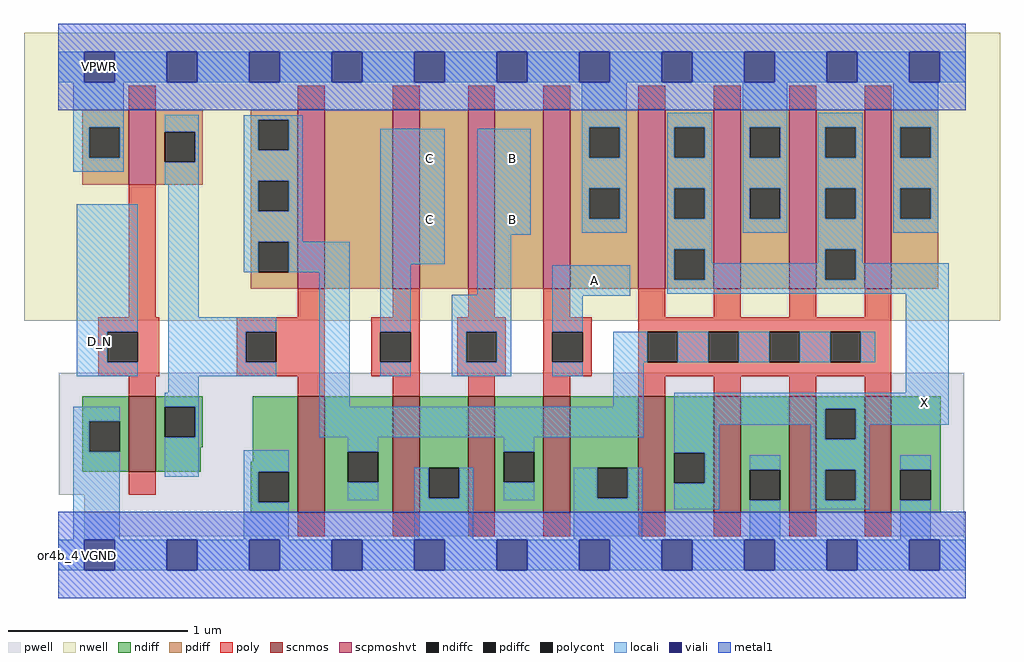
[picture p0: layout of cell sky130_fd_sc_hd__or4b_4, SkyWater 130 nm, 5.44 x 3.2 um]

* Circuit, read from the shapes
.subckt sky130_fd_sc_hd__or4b_4 VGND VPWR VPB VNB X D_N C B A
XM1 n1 D_N VGND VNB sky130_fd_pr__nfet_01v8 w=0.42 l=0.15
XM2 n2 n1 VGND VNB sky130_fd_pr__nfet_01v8 w=0.65 l=0.15
XM3 VGND C n2 VNB sky130_fd_pr__nfet_01v8 w=0.65 l=0.15
XM4 n2 B VGND VNB sky130_fd_pr__nfet_01v8 w=0.65 l=0.15
XM5 VGND A n2 VNB sky130_fd_pr__nfet_01v8 w=0.65 l=0.15
XM6 X n2 VGND VNB sky130_fd_pr__nfet_01v8 w=0.65 l=0.15 m=4
XM7 n1 D_N VPWR VPB sky130_fd_pr__pfet_01v8_hvt w=0.42 l=0.15
XM8 n3 n1 n2 VPB sky130_fd_pr__pfet_01v8_hvt w=1 l=0.15
XM9 n4 C n3 VPB sky130_fd_pr__pfet_01v8_hvt w=1 l=0.15
XM10 n5 B n4 VPB sky130_fd_pr__pfet_01v8_hvt w=1 l=0.15
XM11 VPWR A n5 VPB sky130_fd_pr__pfet_01v8_hvt w=1 l=0.15
XM12 X n2 VPWR VPB sky130_fd_pr__pfet_01v8_hvt w=1 l=0.15 m=4
.ends

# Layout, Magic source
magic
tech sky130B
magscale 1 2
<< nwell >>
rect -38 221 1050 542
<< pwell >>
rect 1 27 1010 163
rect 29 -19 1010 27
rect 29 -57 63 -19
<< scnmos >>
rect 79 53 109 137
rect 267 7 297 137
rect 373 7 403 137
rect 457 7 487 137
rect 541 7 571 137
rect 647 7 677 137
rect 731 7 761 137
rect 815 7 845 137
rect 899 7 929 137
<< scpmoshvt >>
rect 79 373 109 457
rect 267 257 297 457
rect 373 257 403 457
rect 457 257 487 457
rect 541 257 571 457
rect 647 257 677 457
rect 731 257 761 457
rect 815 257 845 457
rect 899 257 929 457
<< ndiff >>
rect 27 109 79 137
rect 27 75 35 109
rect 69 75 79 109
rect 27 53 79 75
rect 109 125 161 137
rect 109 91 119 125
rect 153 91 161 125
rect 109 80 161 91
rect 109 53 159 80
rect 217 64 267 137
rect 215 53 267 64
rect 215 19 223 53
rect 257 19 267 53
rect 215 7 267 19
rect 297 75 373 137
rect 297 41 323 75
rect 357 41 373 75
rect 297 7 373 41
rect 403 57 457 137
rect 403 23 413 57
rect 447 23 457 57
rect 403 7 457 23
rect 487 75 541 137
rect 487 41 497 75
rect 531 41 541 75
rect 487 7 541 41
rect 571 57 647 137
rect 571 23 601 57
rect 635 23 647 57
rect 571 7 647 23
rect 677 74 731 137
rect 677 40 687 74
rect 721 40 731 74
rect 677 7 731 40
rect 761 55 815 137
rect 761 21 771 55
rect 805 21 815 55
rect 761 7 815 21
rect 845 123 899 137
rect 845 89 855 123
rect 889 89 899 123
rect 845 55 899 89
rect 845 21 855 55
rect 889 21 899 55
rect 845 7 899 21
rect 929 55 984 137
rect 929 21 939 55
rect 973 21 984 55
rect 929 7 984 21
<< pdiff >>
rect 27 437 79 457
rect 27 403 35 437
rect 69 403 79 437
rect 27 373 79 403
rect 109 432 161 457
rect 109 398 119 432
rect 153 398 161 432
rect 109 373 161 398
rect 215 445 267 457
rect 215 411 223 445
rect 257 411 267 445
rect 215 377 267 411
rect 215 343 223 377
rect 257 343 267 377
rect 215 309 267 343
rect 215 275 223 309
rect 257 275 267 309
rect 215 257 267 275
rect 297 257 373 457
rect 403 257 457 457
rect 487 257 541 457
rect 571 437 647 457
rect 571 403 592 437
rect 626 403 647 437
rect 571 369 647 403
rect 571 335 592 369
rect 626 335 647 369
rect 571 257 647 335
rect 677 437 731 457
rect 677 403 687 437
rect 721 403 731 437
rect 677 369 731 403
rect 677 335 687 369
rect 721 335 731 369
rect 677 301 731 335
rect 677 267 687 301
rect 721 267 731 301
rect 677 257 731 267
rect 761 437 815 457
rect 761 403 771 437
rect 805 403 815 437
rect 761 369 815 403
rect 761 335 771 369
rect 805 335 815 369
rect 761 257 815 335
rect 845 437 899 457
rect 845 403 855 437
rect 889 403 899 437
rect 845 369 899 403
rect 845 335 855 369
rect 889 335 899 369
rect 845 301 899 335
rect 845 267 855 301
rect 889 267 899 301
rect 845 257 899 267
rect 929 437 981 457
rect 929 403 939 437
rect 973 403 981 437
rect 929 369 981 403
rect 929 335 939 369
rect 973 335 981 369
rect 929 257 981 335
<< ndiffc >>
rect 35 75 69 109
rect 119 91 153 125
rect 223 19 257 53
rect 323 41 357 75
rect 413 23 447 57
rect 497 41 531 75
rect 601 23 635 57
rect 687 40 721 74
rect 771 21 805 55
rect 855 89 889 123
rect 855 21 889 55
rect 939 21 973 55
<< pdiffc >>
rect 35 403 69 437
rect 119 398 153 432
rect 223 411 257 445
rect 223 343 257 377
rect 223 275 257 309
rect 592 403 626 437
rect 592 335 626 369
rect 687 403 721 437
rect 687 335 721 369
rect 687 267 721 301
rect 771 403 805 437
rect 771 335 805 369
rect 855 403 889 437
rect 855 335 889 369
rect 855 267 889 301
rect 939 403 973 437
rect 939 335 973 369
<< poly >>
rect 79 457 109 483
rect 267 457 297 483
rect 373 457 403 483
rect 457 457 487 483
rect 541 457 571 483
rect 647 457 677 483
rect 731 457 761 483
rect 815 457 845 483
rect 899 457 929 483
rect 79 225 109 373
rect 267 225 297 257
rect 373 225 403 257
rect 457 225 487 257
rect 541 225 571 257
rect 647 225 677 257
rect 731 225 761 257
rect 815 225 845 257
rect 899 225 929 257
rect 45 209 113 225
rect 45 175 55 209
rect 89 175 113 209
rect 45 159 113 175
rect 199 209 297 225
rect 199 175 209 209
rect 243 175 297 209
rect 199 159 297 175
rect 349 209 403 225
rect 349 175 359 209
rect 393 175 403 209
rect 349 159 403 175
rect 445 209 499 225
rect 445 175 455 209
rect 489 175 499 209
rect 445 159 499 175
rect 541 209 595 225
rect 541 175 551 209
rect 585 175 595 209
rect 541 159 595 175
rect 647 209 929 225
rect 647 175 657 209
rect 691 175 725 209
rect 759 175 793 209
rect 827 175 861 209
rect 895 175 929 209
rect 647 159 929 175
rect 79 137 109 159
rect 267 137 297 159
rect 373 137 403 159
rect 457 137 487 159
rect 541 137 571 159
rect 647 137 677 159
rect 731 137 761 159
rect 815 137 845 159
rect 899 137 929 159
rect 79 27 109 53
rect 267 -19 297 7
rect 373 -19 403 7
rect 457 -19 487 7
rect 541 -19 571 7
rect 647 -19 677 7
rect 731 -19 761 7
rect 815 -19 845 7
rect 899 -19 929 7
<< polycont >>
rect 55 175 89 209
rect 209 175 243 209
rect 359 175 393 209
rect 455 175 489 209
rect 551 175 585 209
rect 657 175 691 209
rect 725 175 759 209
rect 793 175 827 209
rect 861 175 895 209
<< locali >>
rect 0 487 29 521
rect 63 487 121 521
rect 155 487 213 521
rect 247 487 305 521
rect 339 487 397 521
rect 431 487 489 521
rect 523 487 581 521
rect 615 487 673 521
rect 707 487 765 521
rect 799 487 857 521
rect 891 487 949 521
rect 983 487 1012 521
rect 17 437 73 487
rect 17 403 35 437
rect 69 403 73 437
rect 17 387 73 403
rect 119 432 157 451
rect 153 398 157 432
rect 119 373 157 398
rect 21 209 89 351
rect 21 175 55 209
rect 21 159 89 175
rect 123 225 157 373
rect 207 445 273 450
rect 207 411 223 445
rect 257 411 273 445
rect 584 437 634 487
rect 207 377 273 411
rect 207 343 223 377
rect 257 343 273 377
rect 207 309 273 343
rect 207 275 223 309
rect 257 275 325 309
rect 123 209 243 225
rect 123 175 209 209
rect 123 159 243 175
rect 123 141 157 159
rect 119 125 157 141
rect 17 109 69 125
rect 17 75 35 109
rect 17 -23 69 75
rect 153 91 157 125
rect 291 125 325 275
rect 359 284 431 435
rect 467 317 527 435
rect 584 403 592 437
rect 626 403 634 437
rect 584 369 634 403
rect 584 335 592 369
rect 626 335 634 369
rect 584 319 634 335
rect 679 437 729 453
rect 679 403 687 437
rect 721 403 729 437
rect 679 369 729 403
rect 679 335 687 369
rect 721 335 729 369
rect 359 209 393 284
rect 467 250 505 317
rect 679 301 729 335
rect 763 437 813 487
rect 763 403 771 437
rect 805 403 813 437
rect 763 369 813 403
rect 763 335 771 369
rect 805 335 813 369
rect 763 319 813 335
rect 847 437 897 453
rect 847 403 855 437
rect 889 403 897 437
rect 847 369 897 403
rect 847 335 855 369
rect 889 335 897 369
rect 359 159 393 175
rect 439 209 505 250
rect 439 175 455 209
rect 489 175 505 209
rect 439 159 505 175
rect 551 249 638 283
rect 679 267 687 301
rect 721 285 729 301
rect 847 301 897 335
rect 931 437 981 487
rect 931 403 939 437
rect 973 403 981 437
rect 931 369 981 403
rect 931 335 939 369
rect 973 335 981 369
rect 931 319 981 335
rect 847 285 855 301
rect 721 267 855 285
rect 889 285 897 301
rect 889 267 993 285
rect 679 251 993 267
rect 551 209 585 249
rect 551 159 585 175
rect 619 175 657 209
rect 691 175 725 209
rect 759 175 793 209
rect 827 175 861 209
rect 895 175 911 209
rect 619 125 653 175
rect 945 141 993 251
rect 291 91 653 125
rect 687 123 993 141
rect 687 105 855 123
rect 119 47 157 91
rect 207 53 257 77
rect 207 19 223 53
rect 323 75 357 91
rect 497 75 531 91
rect 323 21 357 41
rect 397 23 413 57
rect 447 23 463 57
rect 207 -23 257 19
rect 397 -23 463 23
rect 687 74 737 105
rect 497 21 531 41
rect 575 23 601 57
rect 635 23 651 57
rect 575 -23 651 23
rect 721 40 737 74
rect 839 89 855 105
rect 889 105 993 123
rect 889 89 905 105
rect 687 11 737 40
rect 771 55 805 71
rect 771 -23 805 21
rect 839 55 905 89
rect 839 21 855 55
rect 889 21 905 55
rect 839 11 905 21
rect 939 55 973 71
rect 939 -23 973 21
rect 0 -57 29 -23
rect 63 -57 121 -23
rect 155 -57 213 -23
rect 247 -57 305 -23
rect 339 -57 397 -23
rect 431 -57 489 -23
rect 523 -57 581 -23
rect 615 -57 673 -23
rect 707 -57 765 -23
rect 799 -57 857 -23
rect 891 -57 949 -23
rect 983 -57 1012 -23
<< viali >>
rect 29 487 63 521
rect 121 487 155 521
rect 213 487 247 521
rect 305 487 339 521
rect 397 487 431 521
rect 489 487 523 521
rect 581 487 615 521
rect 673 487 707 521
rect 765 487 799 521
rect 857 487 891 521
rect 949 487 983 521
rect 29 -57 63 -23
rect 121 -57 155 -23
rect 213 -57 247 -23
rect 305 -57 339 -23
rect 397 -57 431 -23
rect 489 -57 523 -23
rect 581 -57 615 -23
rect 673 -57 707 -23
rect 765 -57 799 -23
rect 857 -57 891 -23
rect 949 -57 983 -23
<< metal1 >>
rect 0 521 1012 552
rect 0 487 29 521
rect 63 487 121 521
rect 155 487 213 521
rect 247 487 305 521
rect 339 487 397 521
rect 431 487 489 521
rect 523 487 581 521
rect 615 487 673 521
rect 707 487 765 521
rect 799 487 857 521
rect 891 487 949 521
rect 983 487 1012 521
rect 0 456 1012 487
rect 0 -23 1012 8
rect 0 -57 29 -23
rect 63 -57 121 -23
rect 155 -57 213 -23
rect 247 -57 305 -23
rect 339 -57 397 -23
rect 431 -57 489 -23
rect 523 -57 581 -23
rect 615 -57 673 -23
rect 707 -57 765 -23
rect 799 -57 857 -23
rect 891 -57 949 -23
rect 983 -57 1012 -23
rect 0 -88 1012 -57
<< labels >>
rlabel comment s 0 -40 0 -40 4 or4b_4
flabel metal1 s 29 -57 63 -23 0 FreeSans 200 0 0 0 VGND
port 2 nsew
flabel metal1 s 29 487 63 521 0 FreeSans 200 0 0 0 VPWR
port 3 nsew
flabel nwell s 29 487 63 521 0 FreeSans 200 0 0 0 VPB
port 5 nsew
flabel pwell s 29 -57 63 -23 0 FreeSans 200 0 0 0 VNB
port 6 nsew
flabel locali s 29 181 63 215 0 FreeSans 400 0 0 0 D_N
port 8 nsew
flabel locali s 489 385 523 419 0 FreeSans 400 0 0 0 B
port 10 nsew
flabel locali s 489 317 523 351 0 FreeSans 400 0 0 0 B
port 10 nsew
flabel locali s 397 317 431 351 0 FreeSans 400 0 0 0 C
port 9 nsew
flabel locali s 581 249 615 283 0 FreeSans 400 0 0 0 A
port 11 nsew
flabel locali s 397 385 431 419 0 FreeSans 400 0 0 0 C
port 9 nsew
flabel locali s 949 113 983 147 0 FreeSans 400 0 0 0 X
port 7 nsew
<< properties >>
string FIXED_BBOX 0 -40 1012 504
string path 0.000 -1.000 25.300 -1.000 
<< end >>
